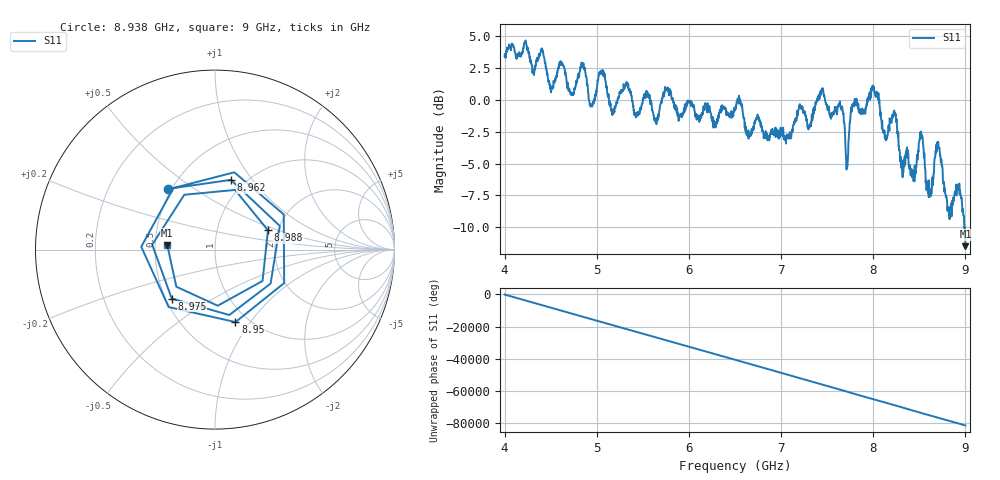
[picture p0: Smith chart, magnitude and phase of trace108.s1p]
! Created with skrf 1.8.0 (http://scikit-rf.org).
# Hz S RI R 50.0
!freq ReS11 ImS11
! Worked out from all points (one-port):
!   1601 points, 4 GHz to 9 GHz, reference 50 ohm
!   lowest |S11| = -11.5 dB at 9 GHz (marker M1), VSWR 1.73, Z = 29 + j1.49 ohm
!   |S11| at or under -10 dB: 8.987738 GHz to 8.990067 GHz (2.329 MHz wide, 0.0259 % of centre); 8.991738 GHz to end of sweep
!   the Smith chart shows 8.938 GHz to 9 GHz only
!   S11 on the Smith chart (normalised r, x): 8.938 GHz: 0.48, +0.39; 8.95 GHz: 0.87, -0.85; 8.962 GHz: 0.86, +0.79; 8.975 GHz: 0.54, -0.34; 8.988 GHz: 1.77, +0.42; 9 GHz: 0.58, +0.03
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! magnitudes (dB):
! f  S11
! 4 GHz  3.4
! 4.625 GHz  2.8
! 4.728 GHz  0.4
! 4.853 GHz  2.9
! 4.941 GHz  -0.5
! 5.053 GHz  2.0
! 5.162 GHz  -0.7
! 5.25 GHz  0.5
! 5.875 GHz  -0.9
! 6.5 GHz  -0.7
! 7.125 GHz  -2.5
! 7.444 GHz  0.7
! 7.653 GHz  -0.7
! 7.712 GHz  -5.5
! 7.75 GHz  -1.6
! 8.003 GHz  0.9
! 8.375 GHz  -3.9
! 8.444 GHz  -6.1
! 8.522 GHz  -2.6
! 8.612 GHz  -7.6
! 8.703 GHz  -3.4
! 8.825 GHz  -9.0
! 8.938 GHz  -7.4
! 8.95 GHz  -7.5
! 8.962 GHz  -8.0
! 8.975 GHz  -8.8
! 8.988 GHz  -10.1
! 9 GHz  -11.5
